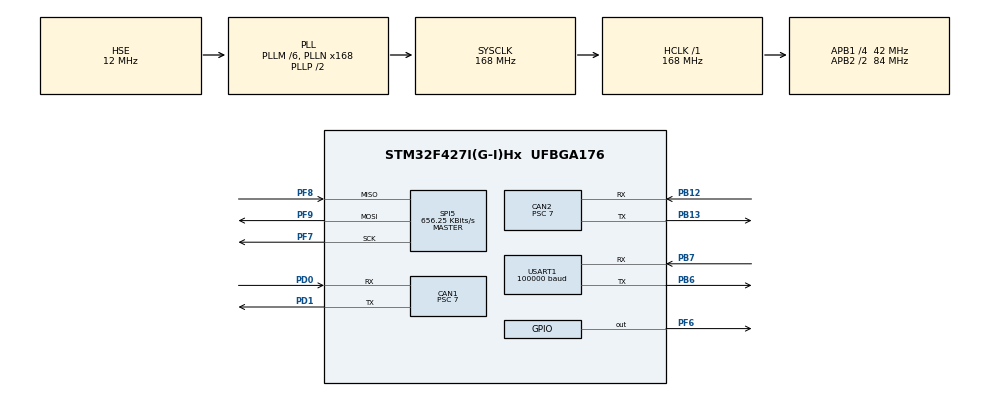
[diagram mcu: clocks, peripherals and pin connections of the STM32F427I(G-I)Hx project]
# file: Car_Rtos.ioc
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CAN1.ABOM=ENABLE
CAN1.AWUM=ENABLE
CAN1.BS1=CAN_BS1_3TQ
CAN1.BS2=CAN_BS2_2TQ
CAN1.CalculateBaudRate=999999
CAN1.CalculateTimeBit=1000
CAN1.CalculateTimeQuantum=166.66666666666669
CAN1.NART=ENABLE
CAN1.Prescaler=7
CAN2.ABOM=ENABLE
CAN2.AWUM=ENABLE
CAN2.BS1=CAN_BS1_3TQ
CAN2.BS2=CAN_BS2_2TQ
CAN2.CalculateBaudRate=999999
CAN2.CalculateTimeBit=1000
CAN2.CalculateTimeQuantum=166.66666666666669
CAN2.NART=ENABLE
CAN2.Prescaler=7
Dma.Request0=USART1_RX
Dma.USART1_RX.0.Direction=DMA_PERIPH_TO_MEMORY
Dma.USART1_RX.0.FIFOMode=DMA_FIFOMODE_DISABLE
Dma.USART1_RX.0.Instance=DMA2_Stream2
Dma.USART1_RX.0.MemDataAlignment=DMA_MDATAALIGN_BYTE
Dma.USART1_RX.0.MemInc=DMA_MINC_ENABLE
Dma.USART1_RX.0.Mode=DMA_CIRCULAR
Dma.USART1_RX.0.PeriphDataAlignment=DMA_PDATAALIGN_BYTE
Dma.USART1_RX.0.PeriphInc=DMA_PINC_DISABLE
Dma.USART1_RX.0.Priority=DMA_PRIORITY_LOW
FREERTOS.Queues01=CAN1_Receive,32,Can_Export_Data_t,0,Dynamic,NULL,NULL;CAN2_Receive,32,Can_Export_Data_t,0,Dynamic,NULL,NULL
FREERTOS.Tasks01=defaultTask,-2,128,StartDefaultTask,Default,NULL,Dynamic,NULL,NULL;Task_CAN_Receiv,2,256,CAN_Receive_All,Default,NULL,Dynamic,NULL,NULL;Tack_CAN_Send,0,256,CAN_Send,Default,NULL,Dynamic,NULL,NULL;Task_Can2_RX,2,256,CAN2_RX,Default,NULL,Dynamic,NULL,NULL
Mcu.Family=STM32F4
Mcu.Name=STM32F427I(G-I)Hx
Mcu.Package=UFBGA176
NVIC.CAN1_RX0_IRQn=true\:5\:0\:true\:false\:true\:true\:true\:true
NVIC.CAN2_RX0_IRQn=true\:5\:0\:false\:false\:true\:true\:true\:true
NVIC.DMA2_Stream2_IRQn=true\:5\:0\:true\:false\:true\:true\:false\:true
NVIC.PriorityGroup=NVIC_PRIORITYGROUP_4
NVIC.TIM6_DAC_IRQn=true\:15\:0\:false\:false\:true\:false\:false\:true
NVIC.TimeBase=TIM6_DAC_IRQn
NVIC.TimeBaseIP=TIM6
PA13.Mode=Serial_Wire
PA13.Signal=SYS_JTMS-SWDIO
PA14.Mode=Serial_Wire
PA14.Signal=SYS_JTCK-SWCLK
PB12.Mode=CAN_Activate
PB12.Signal=CAN2_RX
PB13.Mode=CAN_Activate
PB13.Signal=CAN2_TX
PB6.Mode=Asynchronous
PB6.Signal=USART1_TX
PB7.Mode=Asynchronous
PB7.Signal=USART1_RX
PD0.Mode=CAN_Activate
PD0.Signal=CAN1_RX
PD1.Mode=CAN_Activate
PD1.Signal=CAN1_TX
PF6.GPIO_PuPd=GPIO_PULLUP
PF6.PinState=GPIO_PIN_SET
PF6.Signal=GPIO_Output
PF7.Mode=Full_Duplex_Master
PF7.Signal=SPI5_SCK
PF8.Mode=Full_Duplex_Master
PF8.Signal=SPI5_MISO
PF9.Mode=Full_Duplex_Master
PF9.Signal=SPI5_MOSI
PH0/OSC_IN.Mode=HSE-External-Oscillator
PH0/OSC_IN.Signal=RCC_OSC_IN
PH1/OSC_OUT.Mode=HSE-External-Oscillator
PH1/OSC_OUT.Signal=RCC_OSC_OUT
ProjectManager.HeapSize=0x200
ProjectManager.StackSize=0x400
ProjectManager.TargetToolchain=MDK-ARM V5.32
RCC.48MHZClocksFreq_Value=84000000
RCC.AHBFreq_Value=168000000
RCC.APB1CLKDivider=RCC_HCLK_DIV4
RCC.APB1Freq_Value=42000000
RCC.APB1TimFreq_Value=84000000
RCC.APB2CLKDivider=RCC_HCLK_DIV2
RCC.APB2Freq_Value=84000000
RCC.APB2TimFreq_Value=168000000
RCC.CortexFreq_Value=168000000
RCC.HCLKFreq_Value=168000000
RCC.HSE_VALUE=12000000
RCC.HSI_VALUE=16000000
RCC.LSE_VALUE=32768
RCC.PLLM=6
RCC.PLLN=168
RCC.PLLSourceVirtual=RCC_PLLSOURCE_HSE
RCC.SYSCLKFreq_VALUE=168000000
RCC.SYSCLKSource=RCC_SYSCLKSOURCE_PLLCLK
RCC.VCOOutputFreq_Value=336000000
SPI5.BaudRatePrescaler=SPI_BAUDRATEPRESCALER_128
SPI5.CalculateBaudRate=656.25 KBits/s
SPI5.Direction=SPI_DIRECTION_2LINES
SPI5.Mode=SPI_MODE_MASTER
SPI5.VirtualType=VM_MASTER
USART1.BaudRate=100000
USART1.VirtualMode=VM_ASYNC
VP_FREERTOS_VS_CMSIS_V1.Mode=CMSIS_V1
VP_SYS_VS_tim6.Mode=TIM6
board=custom

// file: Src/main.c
/* USER CODE BEGIN Header */
/**
  ******************************************************************************
  * @file           : main.c
  * @brief          : Main program body
  ******************************************************************************
  * @attention
  *
  * Copyright (c) 2023 STMicroelectronics.
  * All rights reserved.
  *
  * This software is licensed under terms that can be found in the LICENSE file
  * in the root directory of this software component.
  * If no LICENSE file comes with this software, it is provided AS-IS.
  *
  ******************************************************************************
  */
/* USER CODE END Header */
#include "main.h"
#include "cmsis_os.h"
#include "can.h"
#include "dma.h"
#include "spi.h"
#include "usart.h"
#include "gpio.h"

/* USER CODE BEGIN Includes */
#include "BSP_CAN.h"
#include "DR16_Remote.h"
#include "Cloud.h"

/* USER CODE END Includes */

/* USER CODE BEGIN PTD */
extern CAN_HandleTypeDef hcan1;
extern CAN_HandleTypeDef hcan2;

/* USER CODE END PTD */

void SystemClock_Config(void);
void MX_FREERTOS_Init(void);

int main(void)
{

  /* MCU Configuration--------------------------------------------------------*/

  /* Reset of all peripherals, Initializes the Flash interface and the Systick. */
  HAL_Init();

  /* Configure the system clock */
  SystemClock_Config();

  /* Initialize all configured peripherals */
  MX_GPIO_Init();
  MX_CAN1_Init();
  MX_DMA_Init();
  MX_SPI5_Init();
  MX_USART1_UART_Init();
  MX_CAN2_Init();
  /* USER CODE BEGIN 2 */
	CAN_FILTER_Init(&hcan1,can1_type);
	CAN_FILTER_Init(&hcan2,can2_type);
	HAL_UART_Receive_DMA(&huart1 ,DBUS_RX_buffer ,18);

  /* USER CODE END 2 */

  /* Call init function for freertos objects (in freertos.c) */
  MX_FREERTOS_Init();
  /* Start scheduler */
  osKernelStart();

  /* We should never get here as control is now taken by the scheduler */
  /* Infinite loop */
  while (1)
  {

  }
}

void SystemClock_Config(void)
{
  RCC_OscInitTypeDef RCC_OscInitStruct = {0};
  RCC_ClkInitTypeDef RCC_ClkInitStruct = {0};

  /** Configure the main internal regulator output voltage
  */
  __HAL_RCC_PWR_CLK_ENABLE();
  __HAL_PWR_VOLTAGESCALING_CONFIG(PWR_REGULATOR_VOLTAGE_SCALE1);
  /** Initializes the RCC Oscillators according to the specified parameters
  * in the RCC_OscInitTypeDef structure.
  */
  RCC_OscInitStruct.OscillatorType = RCC_OSCILLATORTYPE_HSE;
  RCC_OscInitStruct.HSEState = RCC_HSE_ON;
  RCC_OscInitStruct.PLL.PLLState = RCC_PLL_ON;
  RCC_OscInitStruct.PLL.PLLSource = RCC_PLLSOURCE_HSE;
  RCC_OscInitStruct.PLL.PLLM = 6;
  RCC_OscInitStruct.PLL.PLLN = 168;
  RCC_OscInitStruct.PLL.PLLP = RCC_PLLP_DIV2;
  RCC_OscInitStruct.PLL.PLLQ = 4;
  if (HAL_RCC_OscConfig(&RCC_OscInitStruct) != HAL_OK)
  {
    Error_Handler();
  }
  /** Initializes the CPU, AHB and APB buses clocks
  */
  RCC_ClkInitStruct.ClockType = RCC_CLOCKTYPE_HCLK|RCC_CLOCKTYPE_SYSCLK
                              |RCC_CLOCKTYPE_PCLK1|RCC_CLOCKTYPE_PCLK2;
  RCC_ClkInitStruct.SYSCLKSource = RCC_SYSCLKSOURCE_PLLCLK;
  RCC_ClkInitStruct.AHBCLKDivider = RCC_SYSCLK_DIV1;
  RCC_ClkInitStruct.APB1CLKDivider = RCC_HCLK_DIV4;
  RCC_ClkInitStruct.APB2CLKDivider = RCC_HCLK_DIV2;

  if (HAL_RCC_ClockConfig(&RCC_ClkInitStruct, FLASH_LATENCY_5) != HAL_OK)
  {
    Error_Handler();
  }
}

void HAL_TIM_PeriodElapsedCallback(TIM_HandleTypeDef *htim)
{
  if (htim->Instance == TIM6) {
    HAL_IncTick();
  }
}

void Error_Handler(void)
{
  __disable_irq();
  while (1)
  {
  }
}

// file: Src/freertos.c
/* USER CODE BEGIN Header */
/**
  ******************************************************************************
  * File Name          : freertos.c
  * Description        : Code for freertos applications
  ******************************************************************************
  * @attention
  *
  * Copyright (c) 2023 STMicroelectronics.
  * All rights reserved.
  *
  * This software is licensed under terms that can be found in the LICENSE file
  * in the root directory of this software component.
  * If no LICENSE file comes with this software, it is provided AS-IS.
  *
  ******************************************************************************
  */
/* USER CODE END Header */

#include "FreeRTOS.h"
#include "task.h"
#include "main.h"
#include "cmsis_os.h"

/* USER CODE BEGIN Includes */
#include "BSP_CAN.h"
#include "M6020_Motor.h"
#include "M3508_Motor.h"
#include "DJI_C_IMU.h"
#include "Robot_control.h"
#include "M6020_Motor.h"
#include "DR16_Remote.h"
#include "Cloud.h"
#include "Monitor_RM_CAN.h"
#include "Chassis.h"
#include "PID.h"

/* USER CODE END Includes */

/* USER CODE BEGIN Variables */
osMessageQId CAN_SendHandle;

/* USER CODE END Variables */
osThreadId defaultTaskHandle;
osThreadId Task_CAN_ReceivHandle;
osThreadId Tack_CAN_SendHandle;
osThreadId Task_Can2_RXHandle;
osMessageQId CAN1_ReceiveHandle;
osMessageQId CAN2_ReceiveHandle;

void StartDefaultTask(void const * argument);
void CAN_Receive_All(void const * argument);
void CAN_Send(void const * argument);
void CAN2_RX(void const * argument);

void MX_FREERTOS_Init(void); /* (MISRA C 2004 rule 8.1) */

/* GetIdleTaskMemory prototype (linked to static allocation support) */
void vApplicationGetIdleTaskMemory( StaticTask_t **ppxIdleTaskTCBBuffer, StackType_t **ppxIdleTaskStackBuffer, uint32_t *pulIdleTaskStackSize );

/* USER CODE BEGIN GET_IDLE_TASK_MEMORY */
static StaticTask_t xIdleTaskTCBBuffer;
static StackType_t xIdleStack[configMINIMAL_STACK_SIZE];

void vApplicationGetIdleTaskMemory( StaticTask_t **ppxIdleTaskTCBBuffer, StackType_t **ppxIdleTaskStackBuffer, uint32_t *pulIdleTaskStackSize )
{
  *ppxIdleTaskTCBBuffer = &xIdleTaskTCBBuffer;
  *ppxIdleTaskStackBuffer = &xIdleStack[0];
  *pulIdleTaskStackSize = configMINIMAL_STACK_SIZE;
  /* place for user code */
}
/* USER CODE END GET_IDLE_TASK_MEMORY */

void MX_FREERTOS_Init(void) {

  /* Create the queue(s) */
  /* definition and creation of CAN1_Receive */
  osMessageQDef(CAN1_Receive, 32, Can_Export_Data_t);
  CAN1_ReceiveHandle = osMessageCreate(osMessageQ(CAN1_Receive), NULL);

  /* definition and creation of CAN2_Receive */
  osMessageQDef(CAN2_Receive, 32, Can_Export_Data_t);
  CAN2_ReceiveHandle = osMessageCreate(osMessageQ(CAN2_Receive), NULL);

  /* USER CODE BEGIN RTOS_QUEUES */
  /* add queues, ... */
	osMessageQDef(CAN_Send_All,32,Can_Send_Data_t);
	CAN_SendHandle=osMessageCreate(osMessageQ(CAN_Send_All),NULL);
  /* USER CODE END RTOS_QUEUES */

  /* Create the thread(s) */
  /* definition and creation of defaultTask */
  osThreadDef(defaultTask, StartDefaultTask, osPriorityLow, 0, 128);
  defaultTaskHandle = osThreadCreate(osThread(defaultTask), NULL);

  /* definition and creation of Task_CAN_Receiv */
  osThreadDef(Task_CAN_Receiv, CAN_Receive_All, osPriorityHigh, 0, 256);
  Task_CAN_ReceivHandle = osThreadCreate(osThread(Task_CAN_Receiv), NULL);

  /* definition and creation of Tack_CAN_Send */
  osThreadDef(Tack_CAN_Send, CAN_Send, osPriorityNormal, 0, 256);
  Tack_CAN_SendHandle = osThreadCreate(osThread(Tack_CAN_Send), NULL);

  /* definition and creation of Task_Can2_RX */
  osThreadDef(Task_Can2_RX, CAN2_RX, osPriorityHigh, 0, 256);
  Task_Can2_RXHandle = osThreadCreate(osThread(Task_Can2_RX), NULL);

}

void StartDefaultTask(void const * argument)
{
  /* USER CODE BEGIN StartDefaultTask */
  /* Infinite loop */
  for(;;)
  {

    osDelay(5);
  }
  /* USER CODE END StartDefaultTask */
}

void CAN_Receive_All(void const * argument)
{
  /* USER CODE BEGIN CAN_Receive_All */
		uint32_t ID;
    Can_Export_Data_t Can_Export_Data;

  /* Infinite loop */
  for(;;)
  {
    xQueueReceive(CAN1_ReceiveHandle, &Can_Export_Data, portMAX_DELAY);
    ID = Can_Export_Data.CAN_RxHeader.StdId;
		if(ID==M6020_READID_START)
		{
			M6020_getInfo(Can_Export_Data);
		}
    else if (ID >= M3508_READID_START || ID <= M3508_READID_END)
    {
      M3508_getInfo(Can_Export_Data);
    }
  }
  /* USER CODE END CAN_Receive_All */
}

void CAN_Send(void const * argument)
{
  /* USER CODE BEGIN CAN_Send */

//	  Can_Send_Data_t Can_Send_Data;

  /* Infinite loop */
  for(;;)
  {
		Cloud_Pitch_PID(RC_Ctl.rc.ch1);
		Cloud_Yaw_PID(RC_Ctl.rc.ch0);
		Chassis_Follow(Cloud_Yaw_Center);
		int16_t speed[4];
		MecanumCalculate(RC_Ctl.rc.ch3,RC_Ctl.rc.ch2,-Chassis.Out_Put,speed);
		Chassis_Move(speed);

//	 else if(RC_Ctl.rc.s2==3)
//	 {
//
//	 }
	  if(RC_Ctl.rc.s1==2&&RC_Ctl.rc.s2==2)
		{
			Cloud_Yaw .Out_Put=0;
			Cloud_Pitch.Out_Put=0;
			for (int i = 0; i < 4; i++)
        {
          M3508s[i].outCurrent = 0;

        }
		}

			CAN_cmd_gimbal(-Cloud_Yaw .Out_Put,0,0,0);
			set_3508_current(M3508s[0].outCurrent, M3508s[1].outCurrent, M3508s[2].outCurrent, M3508s[3].outCurrent);
			CAN_0x1FF_Pitch(0,-Cloud_Pitch.Out_Put,0,0);

//		Monitor_CAN_FUN.CAN_0x1FF_SendData(&hcan1, M6020s_Yaw.outCurrent, 0, 0, 0); //pitch����(6020)��yaw����(6020)��

//				Robot_control();
//		    xQueueReceive(CAN_SendHandle, &Can_Send_Data, portMAX_DELAY);
//        HAL_CAN_AddTxMessage(Can_Send_Data.Canx, &Can_Send_Data.CAN_TxHeader, Can_Send_Data.CANx_Send_RxMessage, (uint32_t *)CAN_TX_MAILBOX0);
						osDelay(5);
  }
  /* USER CODE END CAN_Send */
}

void CAN2_RX(void const * argument)
{
  /* USER CODE BEGIN CAN2_RX */
	  uint32_t ID;
    Can_Export_Data_t Can_Export_Data;

  /* Infinite loop */
  for(;;)
  {
		static uint8_t mark=0;
    xQueueReceive(CAN2_ReceiveHandle, &Can_Export_Data, portMAX_DELAY);
    ID = Can_Export_Data.CAN_RxHeader.StdId;
		if(ID==M6020_READID_END)
		{
				M6020_getInfo(Can_Export_Data);
		}
    else if (ID == DJI_C_Angle)
    {
        DJI_C_IMUFUN.DJI_C_Euler_getInfo(Can_Export_Data);
    }
    else if (ID == DJI_C_Gyro)
    {
        DJI_C_IMUFUN.DJI_C_Gyro_getInfo(Can_Export_Data);
    }
		DJI_C_IMUFUN.Updata_Hand_Euler_Gyro_Data();
		if(mark==0)
		{
			cloud_Mpu();
			mark=1;
		}

  }
  /* USER CODE END CAN2_RX */
}
